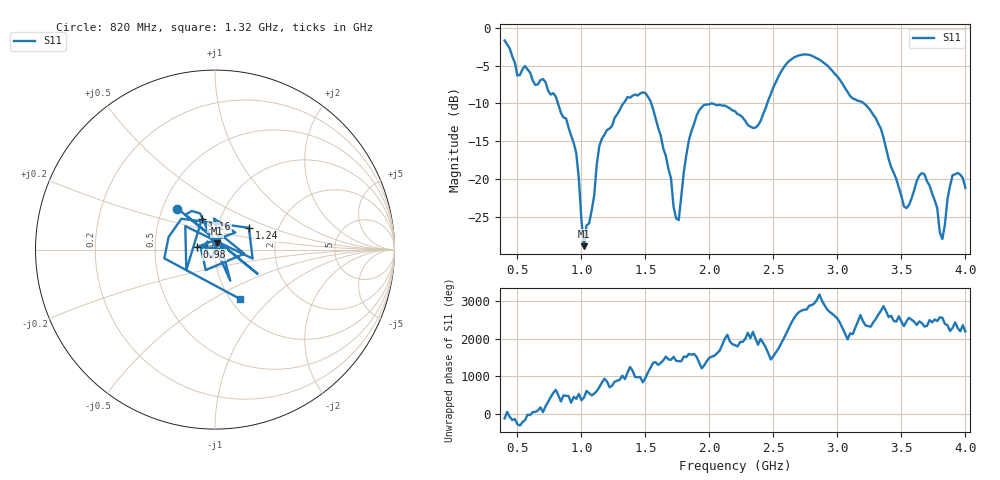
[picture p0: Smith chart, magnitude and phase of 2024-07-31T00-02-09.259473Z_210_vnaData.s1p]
!Created with skrf (http://scikit-rf.org).
# Hz S RI R 50.0
!freq ReS11 ImS11
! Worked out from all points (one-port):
!   181 points, 400 MHz to 4 GHz, reference 50 ohm
!   lowest |S11| = -28.9 dB at 1.02 GHz (marker M1), VSWR 1.07, Z = 50.8 + j3.54 ohm
!   |S11| at or under -10 dB: 816.9 MHz to 1.329 GHz (511.7 MHz wide, 47.7 % of centre); 1.546 GHz to 2.017 GHz (471.4 MHz wide, 26.5 % of centre); 3.206 GHz to end of sweep (the widest 3 of 4)
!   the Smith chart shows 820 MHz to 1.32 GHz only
!   S11 on the Smith chart (normalised r, x): 820 MHz: 0.60, +0.30; 980 MHz: 0.82, +0.02; 1.16 GHz: 0.82, +0.29; 1.24 GHz: 1.41, +0.36; 1.32 GHz: 1.11, -0.68
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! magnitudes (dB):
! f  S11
! 400 MHz  -1.7
! 500 MHz  -6.3
! 560 MHz  -5.1
! 820 MHz  -10.2
! 860 MHz  -11.9
! 940 MHz  -15.2
! 980 MHz  -20.0
! 1.02 GHz  -28.9
! 1.16 GHz  -14.7
! 1.24 GHz  -13.0
! 1.3 GHz  -10.9
! 1.32 GHz  -10.2
! 1.54 GHz  -9.7
! 1.76 GHz  -25.4
! 1.84 GHz  -14.8
! 1.92 GHz  -10.9
! 2.2 GHz  -11.0
! 2.36 GHz  -13.2
! 2.66 GHz  -3.9
! 2.88 GHz  -4.5
! 3.1 GHz  -9.0
! 3.3 GHz  -12.0
! 3.52 GHz  -23.6
! 3.56 GHz  -23.4
! 3.68 GHz  -19.4
! 3.82 GHz  -27.9
! 3.9 GHz  -19.5
! 4 GHz  -21.2
